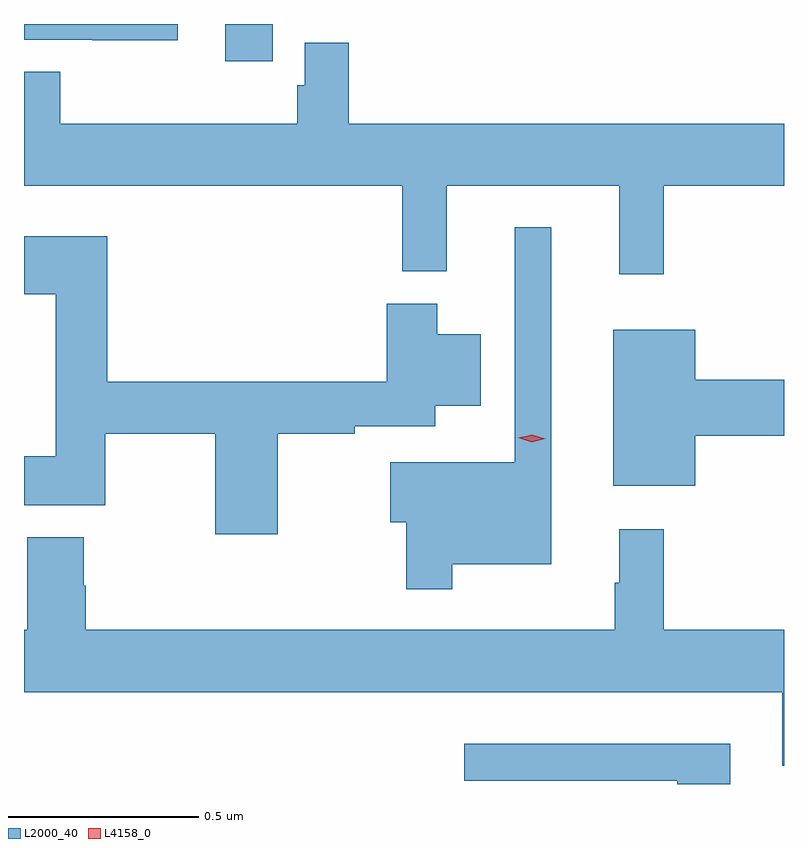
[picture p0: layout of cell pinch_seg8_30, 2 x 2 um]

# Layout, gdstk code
import gdstk
lib = gdstk.Library(unit=1e-6, precision=1e-09)
def R(c, l, rs):  # rectangles x0, y0, x1, y1
    for r in rs: c.add(gdstk.rectangle(r[:2], r[2:], *l))
def P(c, l, *ps):  # polygons
    for p in ps: c.add(gdstk.Polygon(p, *l))
L2000_40 = (2000, 40)
L4158_0 = (4158, 0)

pinch_seg8_30 = lib.new_cell('pinch_seg8_30')
R(pinch_seg8_30, L2000_40, [(891.303,1160.784,891.428,1160.882)])
P(pinch_seg8_30, L2000_40, [(891.178,1160.882),(890.774,1160.882),(890.774,1160.841),(890.953,1160.841),(890.953,1160.839),(891.178,1160.839)],
  [(892.457,1160.456),(892.774,1160.456),(892.774,1160.62),(891.629,1160.62),(891.629,1160.833),(891.513,1160.833),(891.513,1160.721),(891.493,1160.721),(891.493,1160.62),(890.87,1160.62),(890.87,1160.756),(890.774,1160.756),(890.774,1160.456),(891.769,1160.456),(891.769,1160.231),(891.887,1160.231),(891.887,1160.456),(892.34,1160.456),(892.34,1160.223),(892.457,1160.223)],
  [(891.901,1159.46),(892.162,1159.46),(892.162,1160.347),(892.065,1160.347),(892.065,1159.729),(891.738,1159.729),(891.738,1159.571),(891.78,1159.571),(891.78,1159.395),(891.901,1159.395)],
  [(891.442,1159.804),(891.644,1159.804),(891.644,1159.824),(891.856,1159.824),(891.856,1159.877),(891.976,1159.877),(891.976,1160.065),(891.862,1160.065),(891.862,1160.146),(891.728,1160.146),(891.728,1159.94),(890.993,1159.94),(890.993,1160.323),(890.774,1160.323),(890.774,1160.171),(890.858,1160.171),(890.858,1159.744),(890.774,1159.744),(890.774,1159.616),(890.988,1159.616),(890.988,1159.804),(891.277,1159.804),(891.277,1159.539),(891.442,1159.539)],
  [(892.54,1159.799),(892.774,1159.799),(892.774,1159.946),(892.54,1159.946),(892.54,1160.077),(892.325,1160.077),(892.325,1159.667),(892.54,1159.667)],
  [(892.774,1159.288),(892.457,1159.288),(892.457,1159.552),(892.34,1159.552),(892.34,1159.412),(892.329,1159.412),(892.329,1159.288),(890.936,1159.288),(890.936,1159.404),(890.931,1159.404),(890.931,1159.531),(890.783,1159.531),(890.783,1159.288),(890.774,1159.288),(890.774,1159.124),(892.769,1159.124),(892.769,1158.93),(892.774,1158.93)],
  [(892.633,1158.988),(891.933,1158.988),(891.933,1158.891),(892.493,1158.891),(892.493,1158.882),(892.633,1158.882)])
P(pinch_seg8_30, L4158_0, [(892.11,1159.781),(892.075,1159.793),(892.075,1159.793),(892.075,1159.793),(892.111,1159.801),(892.146,1159.79),(892.146,1159.79),(892.146,1159.79)])

lib.write_gds('pinch_seg8_30.gds')
